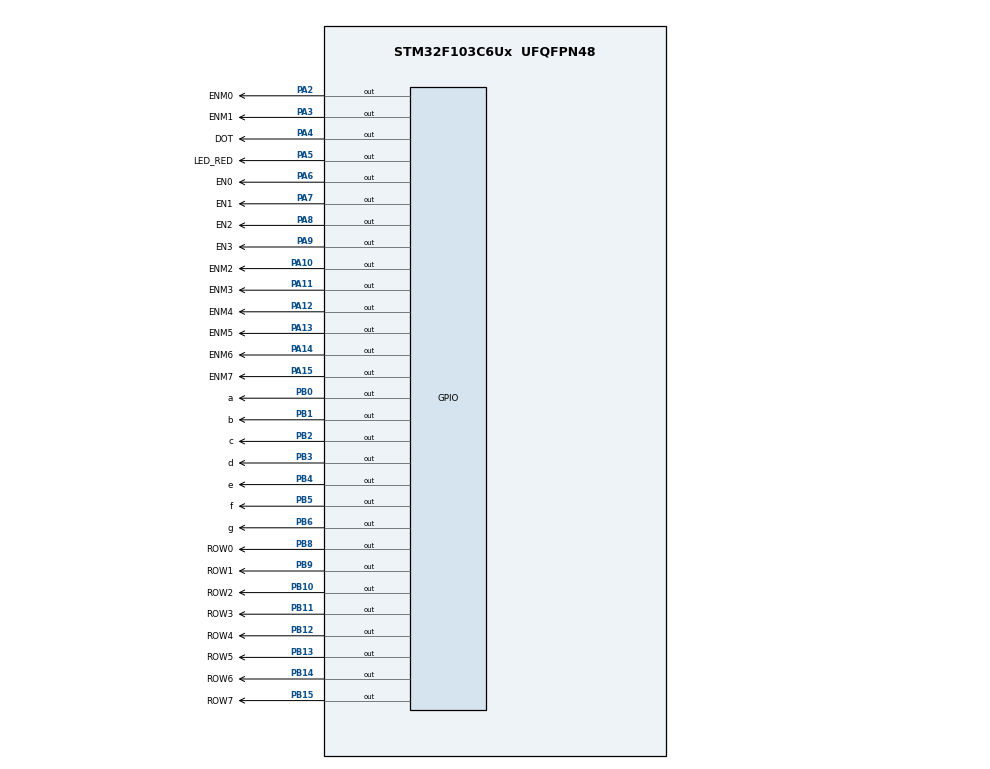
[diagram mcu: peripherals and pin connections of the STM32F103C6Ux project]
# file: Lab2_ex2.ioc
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Mcu.Family=STM32F1
Mcu.Name=STM32F103C6Ux
Mcu.Package=UFQFPN48
NVIC.PriorityGroup=NVIC_PRIORITYGROUP_4
NVIC.TIM2_IRQn=true\:0\:0\:false\:false\:true\:true\:true
PA10.GPIO_Label=ENM2
PA10.Signal=GPIO_Output
PA11.GPIO_Label=ENM3
PA11.Signal=GPIO_Output
PA12.GPIO_Label=ENM4
PA12.Signal=GPIO_Output
PA13.GPIO_Label=ENM5
PA13.Signal=GPIO_Output
PA14.GPIO_Label=ENM6
PA14.Signal=GPIO_Output
PA15.GPIO_Label=ENM7
PA15.Signal=GPIO_Output
PA2.GPIO_Label=ENM0
PA2.Signal=GPIO_Output
PA3.GPIO_Label=ENM1
PA3.Signal=GPIO_Output
PA4.GPIO_Label=DOT
PA4.Signal=GPIO_Output
PA5.GPIO_Label=LED_RED
PA5.Signal=GPIO_Output
PA6.GPIO_Label=EN0
PA6.Signal=GPIO_Output
PA7.GPIO_Label=EN1
PA7.Signal=GPIO_Output
PA8.GPIO_Label=EN2
PA8.Signal=GPIO_Output
PA9.GPIO_Label=EN3
PA9.Signal=GPIO_Output
PB0.GPIO_Label=a
PB0.Signal=GPIO_Output
PB1.GPIO_Label=b
PB1.Signal=GPIO_Output
PB10.GPIO_Label=ROW2
PB10.Signal=GPIO_Output
PB11.GPIO_Label=ROW3
PB11.Signal=GPIO_Output
PB12.GPIO_Label=ROW4
PB12.Signal=GPIO_Output
PB13.GPIO_Label=ROW5
PB13.Signal=GPIO_Output
PB14.GPIO_Label=ROW6
PB14.Signal=GPIO_Output
PB15.GPIO_Label=ROW7
PB15.Signal=GPIO_Output
PB2.GPIO_Label=c
PB2.Signal=GPIO_Output
PB3.GPIO_Label=d
PB3.Signal=GPIO_Output
PB4.GPIO_Label=e
PB4.Signal=GPIO_Output
PB5.GPIO_Label=f
PB5.Signal=GPIO_Output
PB6.GPIO_Label=g
PB6.Signal=GPIO_Output
PB8.GPIO_Label=ROW0
PB8.Signal=GPIO_Output
PB9.GPIO_Label=ROW1
PB9.Signal=GPIO_Output
ProjectManager.HeapSize=0x200
ProjectManager.StackSize=0x400
ProjectManager.TargetToolchain=STM32CubeIDE
RCC.APB1Freq_Value=8000000
RCC.APB2Freq_Value=8000000
TIM2.Period=9
TIM2.Prescaler=7999
VP_SYS_VS_ND.Mode=No_Debug
VP_TIM2_VS_ClockSourceINT.Mode=Internal
board=custom

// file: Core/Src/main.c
/* USER CODE BEGIN Header */
/**
  ******************************************************************************
  * @file           : main.c
  * @brief          : Main program body
  ******************************************************************************
  * @attention
  *
  * <h2><center>&copy; Copyright (c) 2024 STMicroelectronics.
  * All rights reserved.</center></h2>
  *
  * This software component is licensed by ST under BSD 3-Clause license,
  * the "License"; You may not use this file except in compliance with the
  * License. You may obtain a copy of the License at:
  *                        opensource.org/licenses/BSD-3-Clause
  *
  ******************************************************************************
  */
/* USER CODE END Header */
#include "main.h"

TIM_HandleTypeDef htim2;

void SystemClock_Config(void);
static void MX_GPIO_Init(void);
static void MX_TIM2_Init(void);

/* USER CODE BEGIN 0 */
int timer0_counter = 0;
int timer0_flag = 0;
int TIMER_CYCLE = 10;
void setTimer0 ( int duration ) {
 timer0_counter = duration / TIMER_CYCLE ;
 timer0_flag = 0;
}

void timer_run () {
 if( timer0_counter > 0) {
	 	 timer0_counter--;
	 	 if( timer0_counter == 0) timer0_flag = 1;
 }
 }
void Display7SEG(int n)
{
	switch(n){
	case 1:
	{
		HAL_GPIO_WritePin(a_GPIO_Port, a_Pin, GPIO_PIN_SET);
		HAL_GPIO_WritePin(b_GPIO_Port, b_Pin, GPIO_PIN_RESET);
		HAL_GPIO_WritePin(c_GPIO_Port, c_Pin, GPIO_PIN_RESET);
		HAL_GPIO_WritePin(d_GPIO_Port, d_Pin, GPIO_PIN_SET);
		HAL_GPIO_WritePin(e_GPIO_Port, e_Pin, GPIO_PIN_SET);
		HAL_GPIO_WritePin(f_GPIO_Port, f_Pin, GPIO_PIN_SET);
		HAL_GPIO_WritePin(g_GPIO_Port, g_Pin, GPIO_PIN_SET);
		break;
	}
	case 2:
		{
			HAL_GPIO_WritePin(a_GPIO_Port, a_Pin, GPIO_PIN_RESET);
						HAL_GPIO_WritePin(b_GPIO_Port, b_Pin, GPIO_PIN_RESET);
						HAL_GPIO_WritePin(c_GPIO_Port, c_Pin, GPIO_PIN_SET);
						HAL_GPIO_WritePin(d_GPIO_Port, d_Pin, GPIO_PIN_RESET);
						HAL_GPIO_WritePin(e_GPIO_Port, e_Pin, GPIO_PIN_RESET);
						HAL_GPIO_WritePin(f_GPIO_Port, f_Pin, GPIO_PIN_SET);
						HAL_GPIO_WritePin(g_GPIO_Port, g_Pin, GPIO_PIN_RESET);
			break;
		}
	case 3:
			{
				HAL_GPIO_WritePin(a_GPIO_Port, a_Pin, GPIO_PIN_RESET);
				HAL_GPIO_WritePin(b_GPIO_Port, b_Pin, GPIO_PIN_RESET);
				HAL_GPIO_WritePin(c_GPIO_Port, c_Pin, GPIO_PIN_RESET);
				HAL_GPIO_WritePin(d_GPIO_Port, d_Pin, GPIO_PIN_RESET);
				HAL_GPIO_WritePin(e_GPIO_Port, e_Pin, GPIO_PIN_SET);
				HAL_GPIO_WritePin(f_GPIO_Port, f_Pin, GPIO_PIN_SET);
				HAL_GPIO_WritePin(g_GPIO_Port, g_Pin, GPIO_PIN_RESET);
				break;
			}
	case 0:
			{
				HAL_GPIO_WritePin(a_GPIO_Port, a_Pin, GPIO_PIN_RESET);
				HAL_GPIO_WritePin(b_GPIO_Port, b_Pin, GPIO_PIN_RESET);
				HAL_GPIO_WritePin(c_GPIO_Port, c_Pin, GPIO_PIN_RESET);
				HAL_GPIO_WritePin(d_GPIO_Port, d_Pin, GPIO_PIN_RESET);
				HAL_GPIO_WritePin(e_GPIO_Port, e_Pin, GPIO_PIN_RESET);
				HAL_GPIO_WritePin(f_GPIO_Port, f_Pin, GPIO_PIN_RESET);
				HAL_GPIO_WritePin(g_GPIO_Port, g_Pin, GPIO_PIN_SET);
				break;
			}
	case 4:
		{
			HAL_GPIO_WritePin(a_GPIO_Port, a_Pin, GPIO_PIN_SET);
			HAL_GPIO_WritePin(b_GPIO_Port, b_Pin, GPIO_PIN_RESET);
			HAL_GPIO_WritePin(c_GPIO_Port, c_Pin, GPIO_PIN_RESET);
			HAL_GPIO_WritePin(d_GPIO_Port, d_Pin, GPIO_PIN_SET);
			HAL_GPIO_WritePin(e_GPIO_Port, e_Pin, GPIO_PIN_SET);
			HAL_GPIO_WritePin(f_GPIO_Port, f_Pin, GPIO_PIN_RESET);
			HAL_GPIO_WritePin(g_GPIO_Port, g_Pin, GPIO_PIN_RESET);
			break;
		}
	case 5:
		{
			HAL_GPIO_WritePin(a_GPIO_Port, a_Pin, GPIO_PIN_RESET);
			HAL_GPIO_WritePin(b_GPIO_Port, b_Pin, GPIO_PIN_SET);
			HAL_GPIO_WritePin(c_GPIO_Port, c_Pin, GPIO_PIN_RESET);
			HAL_GPIO_WritePin(d_GPIO_Port, d_Pin, GPIO_PIN_RESET);
			HAL_GPIO_WritePin(e_GPIO_Port, e_Pin, GPIO_PIN_SET);
			HAL_GPIO_WritePin(f_GPIO_Port, f_Pin, GPIO_PIN_RESET);
			HAL_GPIO_WritePin(g_GPIO_Port, g_Pin, GPIO_PIN_RESET);
			break;
		}
	case 6:
		{
			HAL_GPIO_WritePin(a_GPIO_Port, a_Pin, GPIO_PIN_RESET);
			HAL_GPIO_WritePin(b_GPIO_Port, b_Pin, GPIO_PIN_SET);
			HAL_GPIO_WritePin(c_GPIO_Port, c_Pin, GPIO_PIN_RESET);
			HAL_GPIO_WritePin(d_GPIO_Port, d_Pin, GPIO_PIN_RESET);
			HAL_GPIO_WritePin(e_GPIO_Port, e_Pin, GPIO_PIN_RESET);
			HAL_GPIO_WritePin(f_GPIO_Port, f_Pin, GPIO_PIN_RESET);
			HAL_GPIO_WritePin(g_GPIO_Port, g_Pin, GPIO_PIN_RESET);
			break;
		}
	case 7:
		{
			HAL_GPIO_WritePin(a_GPIO_Port, a_Pin, GPIO_PIN_RESET);
			HAL_GPIO_WritePin(b_GPIO_Port, b_Pin, GPIO_PIN_RESET);
			HAL_GPIO_WritePin(c_GPIO_Port, c_Pin, GPIO_PIN_RESET);
			HAL_GPIO_WritePin(d_GPIO_Port, d_Pin, GPIO_PIN_SET);
			HAL_GPIO_WritePin(e_GPIO_Port, e_Pin, GPIO_PIN_SET);
			HAL_GPIO_WritePin(f_GPIO_Port, f_Pin, GPIO_PIN_SET);
			HAL_GPIO_WritePin(g_GPIO_Port, g_Pin, GPIO_PIN_SET);
			break;
		}
	case 8:
		{
			HAL_GPIO_WritePin(a_GPIO_Port, a_Pin, GPIO_PIN_RESET);
			HAL_GPIO_WritePin(b_GPIO_Port, b_Pin, GPIO_PIN_RESET);
			HAL_GPIO_WritePin(c_GPIO_Port, c_Pin, GPIO_PIN_RESET);
			HAL_GPIO_WritePin(d_GPIO_Port, d_Pin, GPIO_PIN_RESET);
			HAL_GPIO_WritePin(e_GPIO_Port, e_Pin, GPIO_PIN_RESET);
			HAL_GPIO_WritePin(f_GPIO_Port, f_Pin, GPIO_PIN_RESET);
			HAL_GPIO_WritePin(g_GPIO_Port, g_Pin, GPIO_PIN_RESET);
			break;
		}
	case 9:
		{
			HAL_GPIO_WritePin(a_GPIO_Port, a_Pin, GPIO_PIN_RESET);
			HAL_GPIO_WritePin(b_GPIO_Port, b_Pin, GPIO_PIN_RESET);
			HAL_GPIO_WritePin(c_GPIO_Port, c_Pin, GPIO_PIN_RESET);
			HAL_GPIO_WritePin(d_GPIO_Port, d_Pin, GPIO_PIN_RESET);
			HAL_GPIO_WritePin(e_GPIO_Port, e_Pin, GPIO_PIN_SET);
			HAL_GPIO_WritePin(f_GPIO_Port, f_Pin, GPIO_PIN_RESET);
			HAL_GPIO_WritePin(g_GPIO_Port, g_Pin, GPIO_PIN_RESET);
			break;
		}

	}

}
int hour = 15; int minute = 8; int second = 50;
const int MAX_LED = 4;
int index_led = 0;
int led_buffer[4] = {0,1,2,3};

void update7SEG(int index)
{
	switch (index)
	{
	case 0:
	{
				HAL_GPIO_WritePin(EN0_GPIO_Port, EN0_Pin, GPIO_PIN_RESET);
						HAL_GPIO_WritePin(EN1_GPIO_Port, EN1_Pin, GPIO_PIN_SET);
						HAL_GPIO_WritePin(EN2_GPIO_Port, EN2_Pin, GPIO_PIN_SET);
						HAL_GPIO_WritePin(EN3_GPIO_Port, EN3_Pin, GPIO_PIN_SET);
						Display7SEG(led_buffer[0]);
		break;
	}
	case 1:
	{
		Display7SEG(led_buffer[1]);
								HAL_GPIO_WritePin(EN0_GPIO_Port, EN0_Pin, GPIO_PIN_SET);
								HAL_GPIO_WritePin(EN1_GPIO_Port, EN1_Pin, GPIO_PIN_RESET);
								HAL_GPIO_WritePin(EN2_GPIO_Port, EN2_Pin, GPIO_PIN_SET);
								HAL_GPIO_WritePin(EN3_GPIO_Port, EN3_Pin, GPIO_PIN_SET);
		break;
	}
	case 2:
	{
			HAL_GPIO_WritePin(EN0_GPIO_Port, EN0_Pin, GPIO_PIN_SET);
								HAL_GPIO_WritePin(EN1_GPIO_Port, EN1_Pin, GPIO_PIN_SET);
								HAL_GPIO_WritePin(EN2_GPIO_Port, EN2_Pin, GPIO_PIN_RESET);
								HAL_GPIO_WritePin(EN3_GPIO_Port, EN3_Pin, GPIO_PIN_SET);
								Display7SEG(led_buffer[2]);
		break;
	}
	case 3:
	{
		HAL_GPIO_WritePin(EN0_GPIO_Port, EN0_Pin, GPIO_PIN_SET);
		HAL_GPIO_WritePin(EN1_GPIO_Port, EN1_Pin, GPIO_PIN_SET);
		HAL_GPIO_WritePin(EN2_GPIO_Port, EN2_Pin, GPIO_PIN_SET);
		HAL_GPIO_WritePin(EN3_GPIO_Port, EN3_Pin, GPIO_PIN_RESET);
	Display7SEG(led_buffer[3]);
		break;
	}
	default:
	{
		break;
	}
	}
}

void updateClockBuffer()
{
	if (hour < 10)
	{
		led_buffer[0] = 0;
		led_buffer[1] = hour;
	}
	 if (hour >= 10)
	{
		led_buffer[0] = hour / 10;
		led_buffer [1] = hour % 10;
	}
	 if (minute < 10)
	 {
		 led_buffer[2] = 0;
		 led_buffer[3] = minute;
	 }
	 if (minute >= 10)
	 {
		 led_buffer[2] = minute/10;
		 led_buffer[2] = minute % 10;
	 }
}

/* USER CODE END 0 */

void ResetLedMatrix()
{
	HAL_GPIO_WritePin(ROW0_GPIO_Port, ROW0_Pin, 1);
	HAL_GPIO_WritePin(ROW1_GPIO_Port, ROW1_Pin, 1);
	HAL_GPIO_WritePin(ROW2_GPIO_Port, ROW2_Pin, 1);
	HAL_GPIO_WritePin(ROW3_GPIO_Port, ROW3_Pin, 1);
	HAL_GPIO_WritePin(ROW4_GPIO_Port, ROW4_Pin, 1);
	HAL_GPIO_WritePin(ROW5_GPIO_Port, ROW5_Pin, 1);
	HAL_GPIO_WritePin(ROW6_GPIO_Port, ROW6_Pin, 1);
	HAL_GPIO_WritePin(ROW7_GPIO_Port, ROW7_Pin, 1);

}
void DisplayLedMatrix(uint8_t index)
{
	HAL_GPIO_WritePin(ENM0_GPIO_Port, ENM0_Pin, !(index & 0x01));
	HAL_GPIO_WritePin(ENM1_GPIO_Port, ENM1_Pin, !(index & 0x02));
	HAL_GPIO_WritePin(ENM2_GPIO_Port, ENM2_Pin, !(index & 0x04));
	HAL_GPIO_WritePin(ENM3_GPIO_Port, ENM3_Pin, !(index & 0x08));
	HAL_GPIO_WritePin(ENM4_GPIO_Port, ENM4_Pin, !(index & 0x10));
	HAL_GPIO_WritePin(ENM5_GPIO_Port, ENM5_Pin, !(index & 0x20));
	HAL_GPIO_WritePin(ENM6_GPIO_Port, ENM6_Pin, !(index & 0x40));
	HAL_GPIO_WritePin(ENM7_GPIO_Port, ENM7_Pin, !(index & 0x80));

//	HAL_GPIO_WritePin(ENM0_GPIO_Port, ENM0_Pin, 1);
//		HAL_GPIO_WritePin(ENM1_GPIO_Port, ENM1_Pin, 0);
//		HAL_GPIO_WritePin(ENM2_GPIO_Port, ENM2_Pin, 0);
//		HAL_GPIO_WritePin(ENM3_GPIO_Port, ENM3_Pin, 0);
//		HAL_GPIO_WritePin(ENM4_GPIO_Port, ENM4_Pin, 0);
//		HAL_GPIO_WritePin(ENM5_GPIO_Port, ENM5_Pin, 0);
//		HAL_GPIO_WritePin(ENM6_GPIO_Port, ENM6_Pin, 0);
//		HAL_GPIO_WritePin(ENM7_GPIO_Port, ENM7_Pin, 0);

}
const int MAX_LED_MATRIX = 8;
int index_led_matrix = 0;
uint8_t matrix_buffer [8] = {0x18,0x3C,0x66,0x66,0x7E,0x7E,0x66,0x66 };
//uint8_t matrix_buffer [8] = {0x80,0x80,0x80,0x80,0x80,0x80,0x80,0x80 };
void updateLEDMatrix (int index ) {
	ResetLedMatrix();
 switch ( index ) {
		 case 0:
		 {
			 	HAL_GPIO_WritePin(ROW0_GPIO_Port, ROW0_Pin, 0);
			 	DisplayLedMatrix(matrix_buffer[index]);
			 	break ;
		 }
		 case 1:
			 HAL_GPIO_WritePin(ROW1_GPIO_Port, ROW1_Pin, 0);
			 DisplayLedMatrix(matrix_buffer[index]);
			 	 break ;
		 case 2:
			 HAL_GPIO_WritePin(ROW2_GPIO_Port, ROW2_Pin, 0);
			 DisplayLedMatrix(matrix_buffer[index]);
			 	 break ;
		 case 3:
			 HAL_GPIO_WritePin(ROW3_GPIO_Port, ROW3_Pin, 0);
			 DisplayLedMatrix(matrix_buffer[index]);
			  	  break ;
		 case 4:
			 HAL_GPIO_WritePin(ROW4_GPIO_Port, ROW4_Pin, 0);
			 DisplayLedMatrix(matrix_buffer[index]);
			  	  break ;
		 case 5:
			 HAL_GPIO_WritePin(ROW5_GPIO_Port, ROW5_Pin, 0);
			 DisplayLedMatrix(matrix_buffer[index]);
			  	  break ;
		 case 6:
			 HAL_GPIO_WritePin(ROW6_GPIO_Port, ROW6_Pin, 0);
			 DisplayLedMatrix(matrix_buffer[index]);
			 	 break ;
		 case 7:
			 HAL_GPIO_WritePin(ROW7_GPIO_Port, ROW7_Pin, 0);
			 DisplayLedMatrix(matrix_buffer[index]);
			  	  break ;
		 default :
			  	  break ;
		  }
}
void DisplayLedMatrix1(uint8_t index)
{
	HAL_GPIO_WritePin(ROW0_GPIO_Port, ROW0_Pin, !(index & 0x01));
	HAL_GPIO_WritePin(ROW1_GPIO_Port, ROW1_Pin, !(index & 0x02));
	HAL_GPIO_WritePin(ROW2_GPIO_Port, ROW2_Pin, !(index & 0x04));
	HAL_GPIO_WritePin(ROW3_GPIO_Port, ROW3_Pin, !(index & 0x08));
	HAL_GPIO_WritePin(ROW4_GPIO_Port, ROW4_Pin, !(index & 0x10));
	HAL_GPIO_WritePin(ROW5_GPIO_Port, ROW5_Pin, !(index & 0x20));
	HAL_GPIO_WritePin(ROW6_GPIO_Port, ROW6_Pin, !(index & 0x40));
	HAL_GPIO_WritePin(ROW7_GPIO_Port, ROW7_Pin, !(index & 0x80));

//	HAL_GPIO_WritePin(ENM0_GPIO_Port, ENM0_Pin, 1);
//		HAL_GPIO_WritePin(ENM1_GPIO_Port, ENM1_Pin, 0);
//		HAL_GPIO_WritePin(ENM2_GPIO_Port, ENM2_Pin, 0);
//		HAL_GPIO_WritePin(ENM3_GPIO_Port, ENM3_Pin, 0);
//		HAL_GPIO_WritePin(ENM4_GPIO_Port, ENM4_Pin, 0);
//		HAL_GPIO_WritePin(ENM5_GPIO_Port, ENM5_Pin, 0);
//		HAL_GPIO_WritePin(ENM6_GPIO_Port, ENM6_Pin, 0);
//		HAL_GPIO_WritePin(ENM7_GPIO_Port, ENM7_Pin, 0);
}
void updateLEDMatrixToLeft (int index ) {
	ResetLedMatrix();
 switch ( index ) {
		 case 0:
		 {
			 	HAL_GPIO_WritePin(ENM0_GPIO_Port, ENM0_Pin, 0);
			 	DisplayLedMatrix1(matrix_buffer[index]);
			 	break ;
		 }
		 case 1:
			 HAL_GPIO_WritePin(ENM1_GPIO_Port, ENM1_Pin, 0);
			 DisplayLedMatrix1(matrix_buffer[index]);
			 	 break ;
		 case 2:
			 HAL_GPIO_WritePin(ENM2_GPIO_Port, ENM2_Pin, 0);
			 DisplayLedMatrix1(matrix_buffer[index]);
			 	 break ;
		 case 3:
			 HAL_GPIO_WritePin(ENM3_GPIO_Port, ENM3_Pin, 0);
			 DisplayLedMatrix1(matrix_buffer[index]);
			  	  break ;
		 case 4:
			 HAL_GPIO_WritePin(ENM4_GPIO_Port, ENM4_Pin, 0);
			 DisplayLedMatrix1(matrix_buffer[index]);
			  	  break ;
		 case 5:
			 HAL_GPIO_WritePin(ENM5_GPIO_Port, ENM5_Pin, 0);
			 DisplayLedMatrix1(matrix_buffer[index]);
			  	  break ;
		 case 6:
			 HAL_GPIO_WritePin(ENM6_GPIO_Port, ENM6_Pin, 0);
			 DisplayLedMatrix1(matrix_buffer[index]);
			 	 break ;
		 case 7:
			 HAL_GPIO_WritePin(ENM7_GPIO_Port, ENM7_Pin, 0);
			 DisplayLedMatrix1(matrix_buffer[index]);
			  	  break ;
		 default :
			  	  break ;
		  }
}

int main(void)
{

  /* MCU Configuration--------------------------------------------------------*/

  /* Reset of all peripherals, Initializes the Flash interface and the Systick. */
  HAL_Init();

  /* Configure the system clock */
  SystemClock_Config();

  /* Initialize all configured peripherals */
  MX_GPIO_Init();
  MX_TIM2_Init();
  /* USER CODE BEGIN 2 */
  HAL_TIM_Base_Start_IT(&htim2);
  /* USER CODE END 2 */

  /* Infinite loop */
  /* USER CODE BEGIN WHILE */
  setTimer0(10);
  int i = 0;
  while (1)
  {
    /* USER CODE END WHILE */
	  	   if( timer0_flag == 1) {

	  		   	   	  second++;
	  		 	  	  if (second >= 60)
	  		 	  	  {
	  		 	  		  second = 0;
	  		 	  		  minute++;
	  		 	  	  }
	  		 	  	  if (minute >= 60)
	  		 	  	  {
	  		 	  		  minute = 0;
	  		 	  		  hour ++;
	  		 	  	  }
	  		 	  	  if (hour >= 24)
	  		 	  	  {
	  		 	  		  hour = 0;
	  		 	  	  }
	  	  updateClockBuffer();
	  	   HAL_GPIO_TogglePin ( LED_RED_GPIO_Port , LED_RED_Pin ) ;
	  	   HAL_GPIO_TogglePin ( DOT_GPIO_Port , DOT_Pin ) ;
	  	   if (index_led > 3) index_led = 0;
	  	   update7SEG(index_led++);

	  	   if (i >= MAX_LED_MATRIX){
	  		   i = 0;
	  	   }
	  	 	 updateLEDMatrix(i);
//	  	 	 matrix_buffer[i] = (matrix_buffer[i]>>1) + (matrix_buffer[i]<<7);
	  	 	 i++;
	  	   setTimer0(10) ;

	  	   }
  }
}

void SystemClock_Config(void)
{
  RCC_OscInitTypeDef RCC_OscInitStruct = {0};
  RCC_ClkInitTypeDef RCC_ClkInitStruct = {0};

  /** Initializes the RCC Oscillators according to the specified parameters
  * in the RCC_OscInitTypeDef structure.
  */
  RCC_OscInitStruct.OscillatorType = RCC_OSCILLATORTYPE_HSI;
  RCC_OscInitStruct.HSIState = RCC_HSI_ON;
  RCC_OscInitStruct.HSICalibrationValue = RCC_HSICALIBRATION_DEFAULT;
  RCC_OscInitStruct.PLL.PLLState = RCC_PLL_NONE;
  if (HAL_RCC_OscConfig(&RCC_OscInitStruct) != HAL_OK)
  {
    Error_Handler();
  }
  /** Initializes the CPU, AHB and APB buses clocks
  */
  RCC_ClkInitStruct.ClockType = RCC_CLOCKTYPE_HCLK|RCC_CLOCKTYPE_SYSCLK
                              |RCC_CLOCKTYPE_PCLK1|RCC_CLOCKTYPE_PCLK2;
  RCC_ClkInitStruct.SYSCLKSource = RCC_SYSCLKSOURCE_HSI;
  RCC_ClkInitStruct.AHBCLKDivider = RCC_SYSCLK_DIV1;
  RCC_ClkInitStruct.APB1CLKDivider = RCC_HCLK_DIV1;
  RCC_ClkInitStruct.APB2CLKDivider = RCC_HCLK_DIV1;

  if (HAL_RCC_ClockConfig(&RCC_ClkInitStruct, FLASH_LATENCY_0) != HAL_OK)
  {
    Error_Handler();
  }
}

static void MX_TIM2_Init(void)
{

  TIM_ClockConfigTypeDef sClockSourceConfig = {0};
  TIM_MasterConfigTypeDef sMasterConfig = {0};

  htim2.Instance = TIM2;
  htim2.Init.Prescaler = 7999;
  htim2.Init.CounterMode = TIM_COUNTERMODE_UP;
  htim2.Init.Period = 9;
  htim2.Init.ClockDivision = TIM_CLOCKDIVISION_DIV1;
  htim2.Init.AutoReloadPreload = TIM_AUTORELOAD_PRELOAD_DISABLE;
  if (HAL_TIM_Base_Init(&htim2) != HAL_OK)
  {
    Error_Handler();
  }
  sClockSourceConfig.ClockSource = TIM_CLOCKSOURCE_INTERNAL;
  if (HAL_TIM_ConfigClockSource(&htim2, &sClockSourceConfig) != HAL_OK)
  {
    Error_Handler();
  }
  sMasterConfig.MasterOutputTrigger = TIM_TRGO_RESET;
  sMasterConfig.MasterSlaveMode = TIM_MASTERSLAVEMODE_DISABLE;
  if (HAL_TIMEx_MasterConfigSynchronization(&htim2, &sMasterConfig) != HAL_OK)
  {
    Error_Handler();
  }

}

static void MX_GPIO_Init(void)
{
  GPIO_InitTypeDef GPIO_InitStruct = {0};

  /* GPIO Ports Clock Enable */
  __HAL_RCC_GPIOA_CLK_ENABLE();
  __HAL_RCC_GPIOB_CLK_ENABLE();

  /*Configure GPIO pin Output Level */
  HAL_GPIO_WritePin(GPIOA, ENM0_Pin|ENM1_Pin|DOT_Pin|LED_RED_Pin
                          |EN0_Pin|EN1_Pin|EN2_Pin|EN3_Pin
                          |ENM2_Pin|ENM3_Pin|ENM4_Pin|ENM5_Pin
                          |ENM6_Pin|ENM7_Pin, GPIO_PIN_RESET);

  /*Configure GPIO pin Output Level */
  HAL_GPIO_WritePin(GPIOB, a_Pin|b_Pin|c_Pin|ROW2_Pin
                          |ROW3_Pin|ROW4_Pin|ROW5_Pin|ROW6_Pin
                          |ROW7_Pin|d_Pin|e_Pin|f_Pin
                          |g_Pin|ROW0_Pin|ROW1_Pin, GPIO_PIN_RESET);

  /*Configure GPIO pins : ENM0_Pin ENM1_Pin DOT_Pin LED_RED_Pin
                           EN0_Pin EN1_Pin EN2_Pin EN3_Pin
                           ENM2_Pin ENM3_Pin ENM4_Pin ENM5_Pin
                           ENM6_Pin ENM7_Pin */
  GPIO_InitStruct.Pin = ENM0_Pin|ENM1_Pin|DOT_Pin|LED_RED_Pin
                          |EN0_Pin|EN1_Pin|EN2_Pin|EN3_Pin
                          |ENM2_Pin|ENM3_Pin|ENM4_Pin|ENM5_Pin
                          |ENM6_Pin|ENM7_Pin;
  GPIO_InitStruct.Mode = GPIO_MODE_OUTPUT_PP;
  GPIO_InitStruct.Pull = GPIO_NOPULL;
  GPIO_InitStruct.Speed = GPIO_SPEED_FREQ_LOW;
  HAL_GPIO_Init(GPIOA, &GPIO_InitStruct);

  /*Configure GPIO pins : a_Pin b_Pin c_Pin ROW2_Pin
                           ROW3_Pin ROW4_Pin ROW5_Pin ROW6_Pin
                           ROW7_Pin d_Pin e_Pin f_Pin
                           g_Pin ROW0_Pin ROW1_Pin */
  GPIO_InitStruct.Pin = a_Pin|b_Pin|c_Pin|ROW2_Pin
                          |ROW3_Pin|ROW4_Pin|ROW5_Pin|ROW6_Pin
                          |ROW7_Pin|d_Pin|e_Pin|f_Pin
                          |g_Pin|ROW0_Pin|ROW1_Pin;
  GPIO_InitStruct.Mode = GPIO_MODE_OUTPUT_PP;
  GPIO_InitStruct.Pull = GPIO_NOPULL;
  GPIO_InitStruct.Speed = GPIO_SPEED_FREQ_LOW;
  HAL_GPIO_Init(GPIOB, &GPIO_InitStruct);

}

/* USER CODE BEGIN 4 */

int counter = 9;
int flag = 1;
void HAL_TIM_PeriodElapsedCallback(TIM_HandleTypeDef *htim)
{
	counter--;
	if (counter <= 0)
	{
		counter = 9;
//	if (index_led > 3) index_led = 0;
//		update7SEG(index_led++);
	}
	timer_run();
}

/* USER CODE END 4 */

void Error_Handler(void)
{
  __disable_irq();
  while (1)
  {
  }
}

/************************ (C) COPYRIGHT STMicroelectronics *****END OF FILE****/
